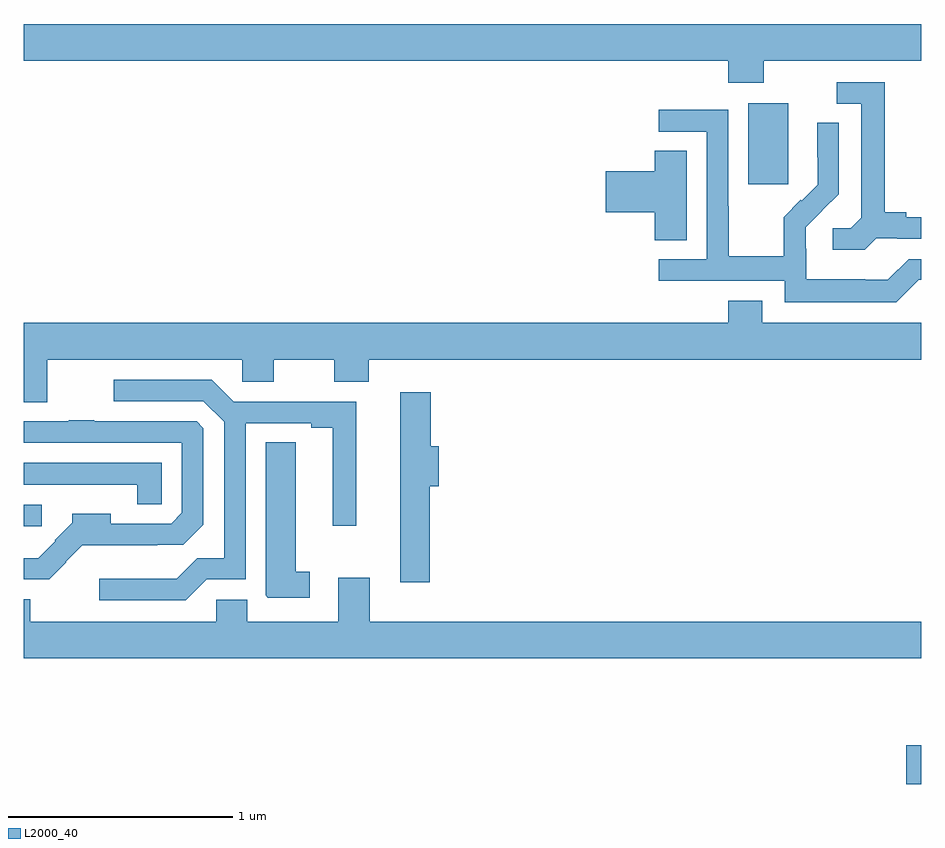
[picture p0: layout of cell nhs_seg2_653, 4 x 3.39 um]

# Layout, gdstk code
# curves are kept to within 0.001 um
import gdstk
lib = gdstk.Library(unit=1e-6, precision=1e-09)
def R(c, l, rs):  # rectangles x0, y0, x1, y1
    for r in rs: c.add(gdstk.rectangle(r[:2], r[2:], *l))
def P(c, l, *ps):  # polygons
    for p in ps: c.add(gdstk.Polygon(p, *l))
L2000_40 = (2000, 40)

nhs_seg2_653 = lib.new_cell('nhs_seg2_653')
R(nhs_seg2_653, L2000_40, [(148.934,589.8,149,589.972), (145,590.949,145.08,591.045), (148.229,592.473,148.408,592.834)])
P(nhs_seg2_653, L2000_40, [(148.299,593.024),(149,593.024),(149,593.188),(145,593.188),(145,593.024),(148.139,593.024),(148.139,592.925),(148.299,592.925)],
  [(148.8,592.233),(148.894,592.233),(148.894,592.23),(149,592.23),(149,592.326),(148.933,592.326),(148.933,592.349),(148.837,592.349),(148.837,592.929),(148.623,592.929),(148.623,592.833),(148.733,592.833),(148.733,592.325),(148.686,592.278),(148.605,592.278),(148.605,592.181),(148.748,592.181)],
  [(148.989,592.047),(149,592.047),(149,592.14),(148.944,592.14),(148.851,592.047),(148.751,592.047),(148.751,592.051),(148.488,592.051),(148.488,592.185),(148.486,592.185),(148.486,592.282),(148.632,592.43),(148.632,592.748),(148.536,592.748),(148.536,592.594),(148.538,592.594),(148.538,592.472),(148.467,592.401),(148.464,592.404),(148.387,592.327),(148.387,592.153),(148.143,592.153),(148.143,592.376),(148.14,592.376),(148.14,592.806),(147.831,592.806),(147.831,592.707),(148.044,592.707),(148.044,592.14),(147.831,592.14),(147.831,592.044),(148.392,592.044),(148.392,591.947),(148.889,591.947)],
  [(147.955,592.622),(147.812,592.622),(147.812,592.532),(147.594,592.532),(147.594,592.349),(147.812,592.349),(147.812,592.225),(147.955,592.225)],
  [(145.105,591.692),(145.974,591.692),(145.974,591.594),(146.113,591.594),(146.113,591.692),(146.384,591.692),(146.384,591.593),(146.537,591.593),(146.537,591.692),(149,591.692),(149,591.856),(148.291,591.856),(148.291,591.955),(148.139,591.955),(148.139,591.856),(145,591.856),(145,591.502),(145.105,591.502)],
  [(145.815,590.712),(145.989,590.712),(145.989,591.408),(146.282,591.408),(146.282,591.388),(146.378,591.388),(146.378,590.952),(146.482,590.952),(146.482,591.504),(145.936,591.504),(145.837,591.603),(145.401,591.603),(145.401,591.507),(145.8,591.507),(145.893,591.414),(145.893,590.807),(145.772,590.807),(145.681,590.716),(145.335,590.716),(145.335,590.619),(145.722,590.619)],
  [(146.81,591.128),(146.849,591.128),(146.849,591.306),(146.813,591.306),(146.813,591.547),(146.678,591.547),(146.678,590.7),(146.81,590.7)],
  [(145.189,590.789),(145.187,590.791),(145.261,590.865),(145.595,590.864),(145.595,590.866),(145.711,590.866),(145.8,590.955),(145.8,591.387),(145.77,591.417),(145.313,591.417),(145.313,591.422),(145.201,591.422),(145.201,591.417),(145,591.417),(145,591.321),(145.704,591.321),(145.704,591.009),(145.656,590.961),(145.387,590.961),(145.387,591.004),(145.216,591.004),(145.216,590.965),(145.137,590.886),(145.14,590.883),(145.064,590.807),(145,590.807),(145,590.712),(145.113,590.712)],
  [(146.275,590.747),(146.212,590.747),(146.212,591.323),(146.078,591.323),(146.078,590.641),(146.088,590.631),(146.275,590.631)],
  [(145.614,591.231),(145,591.231),(145,591.135),(145.251,591.135),(145.251,591.134),(145.506,591.134),(145.506,591.046),(145.614,591.046)],
  [(149,590.524),(146.542,590.524),(146.542,590.719),(146.402,590.719),(146.402,590.524),(145.996,590.524),(145.996,590.622),(145.857,590.622),(145.857,590.524),(145.029,590.524),(145.029,590.623),(145,590.623),(145,590.36),(149,590.36)])

lib.write_gds('nhs_seg2_653.gds')
